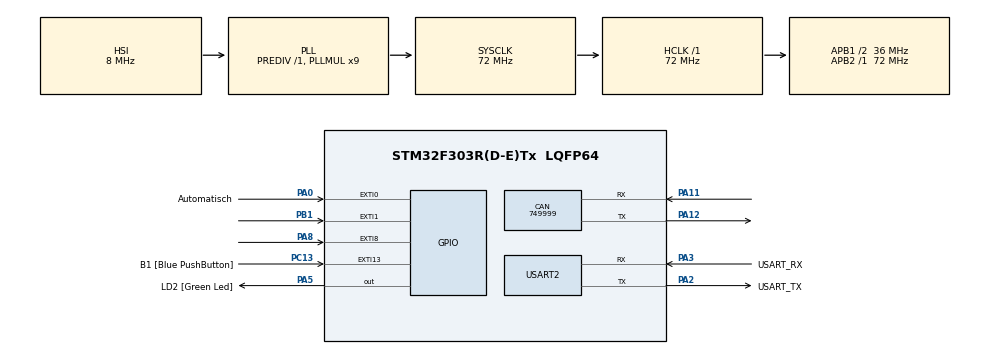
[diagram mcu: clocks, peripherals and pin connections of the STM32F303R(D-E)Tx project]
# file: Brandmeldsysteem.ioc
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CAN.CalculateBaudRate=749999
CAN.CalculateTimeBit=1333
CAN.CalculateTimeQuantum=444.44444444444446
Mcu.Family=STM32F3
Mcu.Name=STM32F303R(D-E)Tx
Mcu.Package=LQFP64
NVIC.CAN_RX1_IRQn=true\:0\:0\:false\:false\:true\:true\:true\:true
NVIC.EXTI1_IRQn=true\:0\:0\:false\:false\:true\:true\:true\:true
NVIC.PriorityGroup=NVIC_PRIORITYGROUP_0
PA0.GPIO_Label=Automatisch
PA0.GPIO_ModeDefaultEXTI=GPIO_MODE_IT_FALLING
PA0.GPIO_PuPd=GPIO_PULLUP
PA0.Signal=GPXTI0
PA11.Mode=CAN_Activate
PA11.Signal=CAN_RX
PA12.Mode=CAN_Activate
PA12.Signal=CAN_TX
PA13.GPIO_Label=TMS
PA13.Mode=Serial_Wire
PA13.Signal=SYS_JTMS-SWDIO
PA14.GPIO_Label=TCK
PA14.Mode=Serial_Wire
PA14.Signal=SYS_JTCK-SWCLK
PA2.GPIO_Label=USART_TX
PA2.GPIO_Mode=GPIO_MODE_AF_PP
PA2.GPIO_PuPd=GPIO_NOPULL
PA2.GPIO_Speed=GPIO_SPEED_FREQ_LOW
PA2.Mode=Asynchronous
PA2.Signal=USART2_TX
PA3.GPIO_Label=USART_RX
PA3.GPIO_Mode=GPIO_MODE_AF_PP
PA3.GPIO_PuPd=GPIO_NOPULL
PA3.GPIO_Speed=GPIO_SPEED_FREQ_LOW
PA3.Mode=Asynchronous
PA3.Signal=USART2_RX
PA5.GPIO_Label=LD2 [Green Led]
PA5.GPIO_Mode=GPIO_MODE_OUTPUT_PP
PA5.GPIO_PuPd=GPIO_NOPULL
PA5.GPIO_Speed=GPIO_SPEED_FREQ_LOW
PA5.Signal=GPIO_Output
PA8.GPIO_ModeDefaultEXTI=GPIO_MODE_IT_FALLING
PA8.GPIO_PuPd=GPIO_PULLUP
PA8.Signal=GPXTI8
PB1.GPIO_ModeDefaultEXTI=GPIO_MODE_IT_FALLING
PB1.GPIO_PuPd=GPIO_PULLUP
PB1.Signal=GPXTI1
PB3.GPIO_Label=SWO
PB3.Signal=SYS_JTDO-TRACESWO
PC13.GPIO_Label=B1 [Blue PushButton]
PC13.GPIO_ModeDefaultEXTI=GPIO_MODE_IT_FALLING
PC13.Signal=GPXTI13
PC14-OSC32_IN.Mode=LSE-External-Oscillator
PC14-OSC32_IN.Signal=RCC_OSC32_IN
PC15-OSC32_OUT.Mode=LSE-External-Oscillator
PC15-OSC32_OUT.Signal=RCC_OSC32_OUT
PF0-OSC_IN.Mode=HSE-External-Clock-Source
PF0-OSC_IN.Signal=RCC_OSC_IN
PF1-OSC_OUT.Signal=RCC_OSC_OUT
ProjectManager.HeapSize=0x200
ProjectManager.StackSize=0x400
ProjectManager.TargetToolchain=STM32CubeIDE
RCC.AHBFreq_Value=72000000
RCC.APB1CLKDivider=RCC_HCLK_DIV2
RCC.APB1Freq_Value=36000000
RCC.APB1TimFreq_Value=72000000
RCC.APB2Freq_Value=72000000
RCC.APB2TimFreq_Value=72000000
RCC.CortexFreq_Value=72000000
RCC.HCLKFreq_Value=72000000
RCC.HSE_VALUE=8000000
RCC.HSI_VALUE=8000000
RCC.PLLM=8
RCC.PLLMUL=RCC_PLL_MUL9
RCC.PLLN=336
RCC.PLLP=RCC_PLLP_DIV4
RCC.PLLQ=7
RCC.RCC_PLLsource_Clock_Source_FROM_HSE=RCC_HSE_PREDIV_DIV2
RCC.SYSCLKFreq_VALUE=72000000
RCC.SYSCLKSourceVirtual=RCC_SYSCLKSOURCE_PLLCLK
RCC.USBFreq_Value=72000000
USART2.VirtualMode-Asynchronous=VM_ASYNC
board=NUCLEO-F303RE

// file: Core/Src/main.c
/* USER CODE BEGIN Header */
/**
  ******************************************************************************
  * @file           : main.c
  * @brief          : Main program body
  ******************************************************************************
  * @attention
  *
  * Copyright (c) 2026 STMicroelectronics.
  * All rights reserved.
  *
  * This software is licensed under terms that can be found in the LICENSE file
  * in the root directory of this software component.
  * If no LICENSE file comes with this software, it is provided AS-IS.
  *
  ******************************************************************************
  */
/* USER CODE END Header */
#include "main.h"

/* USER CODE BEGIN PD */
#define CAN_ID_BRAND_ALARM        0x120
/* USER CODE END PD */

CAN_HandleTypeDef hcan;

UART_HandleTypeDef huart2;

/* USER CODE BEGIN PV */
CAN_TxHeaderTypeDef TxHeader;
uint8_t TxData[8];
uint32_t TxBuffer;

volatile uint8_t brandActief = 0;
volatile uint8_t knopIngedrukt = 0;
/* USER CODE END PV */

void SystemClock_Config(void);
static void MX_GPIO_Init(void);
static void MX_CAN_Init(void);
static void MX_USART2_UART_Init(void);
/* USER CODE BEGIN PFP */
void sendBrandAlarm(void);
/* USER CODE END PFP */

/* USER CODE BEGIN 0 */
#include <stdio.h>

int _write(int file, char *ptr, int len)
{
    HAL_UART_Transmit(&huart2, (uint8_t*)ptr, len, HAL_MAX_DELAY);
    return len;
}
/* USER CODE END 0 */

int main(void)
{

  /* MCU Configuration--------------------------------------------------------*/

  /* Reset of all peripherals, Initializes the Flash interface and the Systick. */
  HAL_Init();

  /* Configure the system clock */
  SystemClock_Config();

  /* Initialize all configured peripherals */
  MX_GPIO_Init();
  MX_CAN_Init();
  MX_USART2_UART_Init();
  /* USER CODE BEGIN 2 */
  CAN_FilterTypeDef filter;

  // Alles accepteren
  filter.FilterBank = 0;
  filter.FilterMode = CAN_FILTERMODE_IDMASK;
  filter.FilterScale = CAN_FILTERSCALE_32BIT;
  filter.FilterIdHigh = 0;
  filter.FilterIdLow = 0;
  filter.FilterMaskIdHigh = 0;
  filter.FilterMaskIdLow = 0;
  filter.FilterFIFOAssignment = CAN_RX_FIFO0;
  filter.FilterActivation = ENABLE;
  filter.SlaveStartFilterBank = 14;

  //Start CAN
  HAL_CAN_ConfigFilter(&hcan, &filter);
  HAL_CAN_Start(&hcan);

  //Bereid uitgaande berichten voor. Deze worden momenteel al gezet in de functie SendBrandAlarm en zijn hier nu niet nodig.
  //TxHeader.StdId = 0x300;
  //TxHeader.IDE   = CAN_ID_STD;
  //TxHeader.RTR   = CAN_RTR_DATA;
  //TxHeader.DLC   = 8;

  /* USER CODE END 2 */

  /* Infinite loop */
  /* USER CODE BEGIN WHILE */
  while (1)
  {
	  printf("PB1 ingedrukt, dus de handbrandmelder is actief\n"); //Hardcoded test voor de knop.
    /* USER CODE END WHILE */

    /* USER CODE BEGIN 3 */

	if (knopIngedrukt)
	{
		printf("PB1 ingedrukt, dus de handbrandmelder is actief\n"); //Hardcoded test voor de knop.
	    knopIngedrukt = 0;
	}

  }
  /* USER CODE END 3 */
}

void SystemClock_Config(void)
{
  RCC_OscInitTypeDef RCC_OscInitStruct = {0};
  RCC_ClkInitTypeDef RCC_ClkInitStruct = {0};
  RCC_PeriphCLKInitTypeDef PeriphClkInit = {0};

  /** Initializes the RCC Oscillators according to the specified parameters
  * in the RCC_OscInitTypeDef structure.
  */
  RCC_OscInitStruct.OscillatorType = RCC_OSCILLATORTYPE_HSI;
  RCC_OscInitStruct.HSIState = RCC_HSI_ON;
  RCC_OscInitStruct.HSICalibrationValue = RCC_HSICALIBRATION_DEFAULT;
  RCC_OscInitStruct.PLL.PLLState = RCC_PLL_ON;
  RCC_OscInitStruct.PLL.PLLSource = RCC_PLLSOURCE_HSI;
  RCC_OscInitStruct.PLL.PLLMUL = RCC_PLL_MUL9;
  RCC_OscInitStruct.PLL.PREDIV = RCC_PREDIV_DIV1;
  if (HAL_RCC_OscConfig(&RCC_OscInitStruct) != HAL_OK)
  {
    Error_Handler();
  }

  /** Initializes the CPU, AHB and APB buses clocks
  */
  RCC_ClkInitStruct.ClockType = RCC_CLOCKTYPE_HCLK|RCC_CLOCKTYPE_SYSCLK
                              |RCC_CLOCKTYPE_PCLK1|RCC_CLOCKTYPE_PCLK2;
  RCC_ClkInitStruct.SYSCLKSource = RCC_SYSCLKSOURCE_PLLCLK;
  RCC_ClkInitStruct.AHBCLKDivider = RCC_SYSCLK_DIV1;
  RCC_ClkInitStruct.APB1CLKDivider = RCC_HCLK_DIV2;
  RCC_ClkInitStruct.APB2CLKDivider = RCC_HCLK_DIV1;

  if (HAL_RCC_ClockConfig(&RCC_ClkInitStruct, FLASH_LATENCY_2) != HAL_OK)
  {
    Error_Handler();
  }
  PeriphClkInit.PeriphClockSelection = RCC_PERIPHCLK_USART2;
  PeriphClkInit.Usart2ClockSelection = RCC_USART2CLKSOURCE_PCLK1;
  if (HAL_RCCEx_PeriphCLKConfig(&PeriphClkInit) != HAL_OK)
  {
    Error_Handler();
  }
}

static void MX_CAN_Init(void)
{

  /* USER CODE BEGIN CAN_Init 1 */
	hcan.Instance = CAN;
	hcan.Init.Prescaler = 10; //Was 16, maar blijkbaar moeten alle CAN nodes dezelfde prescaler hebben.
	hcan.Init.Mode = CAN_MODE_NORMAL;
	hcan.Init.SyncJumpWidth = CAN_SJW_1TQ;
	hcan.Init.TimeSeg1 = CAN_BS1_13TQ; //Was 1TQ, maar moet gelijk zijn voor alle nodes.
	hcan.Init.TimeSeg2 = CAN_BS2_2TQ; //Was 1TQ, maar moet gelijk zijn voor alle nodes.
	hcan.Init.TimeTriggeredMode = DISABLE;
	hcan.Init.AutoBusOff = DISABLE;
	hcan.Init.AutoWakeUp = DISABLE;
    hcan.Init.AutoRetransmission = DISABLE;
	hcan.Init.ReceiveFifoLocked = DISABLE;
    hcan.Init.TransmitFifoPriority = DISABLE;
	if (HAL_CAN_Init(&hcan) != HAL_OK)
	    Error_Handler();
  /* USER CODE END CAN_Init 1 */

}

static void MX_USART2_UART_Init(void)
{

  huart2.Instance = USART2;
  huart2.Init.BaudRate = 38400;
  huart2.Init.WordLength = UART_WORDLENGTH_8B;
  huart2.Init.StopBits = UART_STOPBITS_1;
  huart2.Init.Parity = UART_PARITY_NONE;
  huart2.Init.Mode = UART_MODE_TX_RX;
  huart2.Init.HwFlowCtl = UART_HWCONTROL_NONE;
  huart2.Init.OverSampling = UART_OVERSAMPLING_16;
  huart2.Init.OneBitSampling = UART_ONE_BIT_SAMPLE_DISABLE;
  huart2.AdvancedInit.AdvFeatureInit = UART_ADVFEATURE_NO_INIT;
  if (HAL_UART_Init(&huart2) != HAL_OK)
  {
    Error_Handler();
  }

}

static void MX_GPIO_Init(void)
{
  GPIO_InitTypeDef GPIO_InitStruct = {0};

  /* GPIO Ports Clock Enable */
  __HAL_RCC_GPIOC_CLK_ENABLE();
  __HAL_RCC_GPIOF_CLK_ENABLE();
  __HAL_RCC_GPIOA_CLK_ENABLE();
  __HAL_RCC_GPIOB_CLK_ENABLE();

  /*Configure GPIO pin Output Level */
  HAL_GPIO_WritePin(LD2_GPIO_Port, LD2_Pin, GPIO_PIN_RESET);

  /*Configure GPIO pin : LD2_Pin */
  GPIO_InitStruct.Pin = LD2_Pin;
  GPIO_InitStruct.Mode = GPIO_MODE_OUTPUT_PP;
  GPIO_InitStruct.Pull = GPIO_NOPULL;
  GPIO_InitStruct.Speed = GPIO_SPEED_FREQ_LOW;
  HAL_GPIO_Init(LD2_GPIO_Port, &GPIO_InitStruct);

  /*Configure GPIO pin : PB1 */
  GPIO_InitStruct.Pin = GPIO_PIN_1;
  GPIO_InitStruct.Mode = GPIO_MODE_IT_FALLING;
  GPIO_InitStruct.Pull = GPIO_PULLUP;
  HAL_GPIO_Init(GPIOB, &GPIO_InitStruct);

  /* EXTI interrupt init*/
  HAL_NVIC_SetPriority(EXTI1_IRQn, 0, 0);
  HAL_NVIC_EnableIRQ(EXTI1_IRQn);

}

/* USER CODE BEGIN 4 */

//void HAL_GPIO_EXTI_Callback(uint16_t GPIO_Pin)
//{
//    if (brandActief)
//        return; //Er is al brand gemeld / brandstatus is al aan, er is niet opnieuw reactie nodig.
//
//    if (GPIO_Pin == GPIO_PIN_8) //Als handmatig via de knop brand wordt gemeld.
//    {
//        brandActief = 1; //Zet de status actief.
//        sendBrandAlarm(); //Roep de functie aan.
//    }
//}

void HAL_GPIO_EXTI_Callback(uint16_t GPIO_Pin)
{
	if (brandActief)
		return; //Er is al brand gemeld / brandstatus is al aan, er is niet opnieuw reactie nodig.

    if (GPIO_Pin == GPIO_PIN_1)
    {
    	knopIngedrukt = 1;
    	brandActief = 1; //Zet de status actief.
    	HAL_GPIO_TogglePin(LD2_GPIO_Port, LD2_Pin); //Allegedly de led van de knop?
    	sendBrandAlarm(); //Roep de functie aan.
    }
}

void sendBrandAlarm(void)
{
	TxHeader.StdId = CAN_ID_BRAND_ALARM; //Het ID van de sensor dat verantwoordelijk wordt voor registeren van brand.
	TxHeader.IDE   = CAN_ID_STD; //Constante.
	TxHeader.RTR   = CAN_RTR_DATA; //Constante
	TxHeader.DLC   = 1; //Het aantal databits dat verzonden wordt.

	TxData[0] = 0x01;  //Data met waarde voor registratie van brand.

	HAL_CAN_AddTxMessage(&hcan, &TxHeader, TxData, &TxBuffer); // Versturen van dat er brand geregistreerd is.
}
/* USER CODE END 4 */

void Error_Handler(void)
{
  __disable_irq();
  while (1)
  {
  }
}
